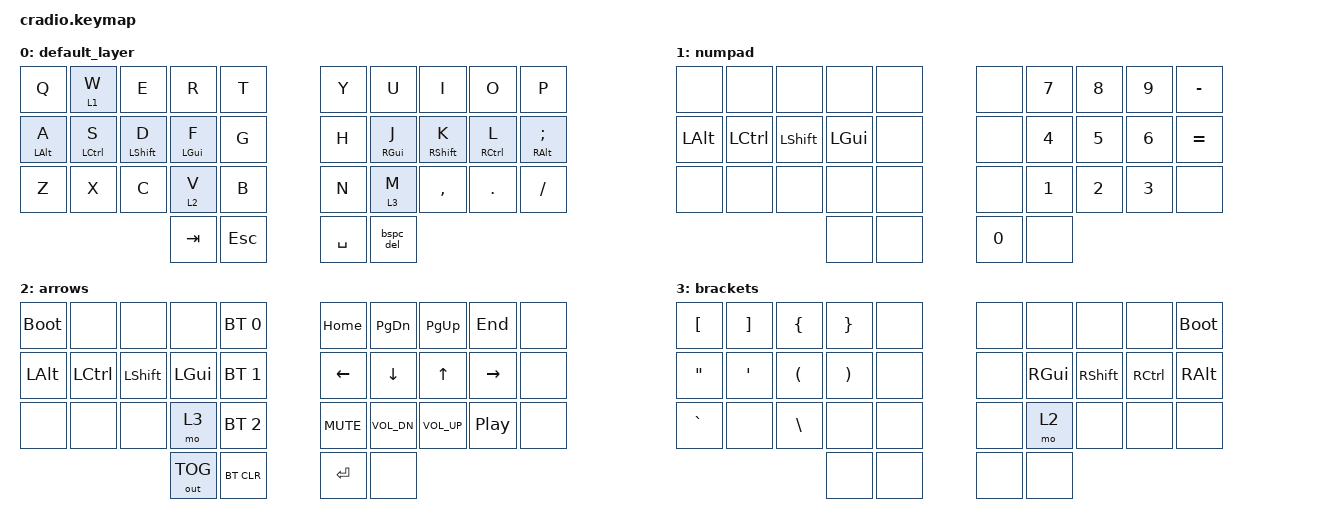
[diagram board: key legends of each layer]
// Copyright (c) 2022 The ZMK Contributors
// SPDX-License-Identifier: MIT

#include <behaviors.dtsi>
#include <dt-bindings/zmk/keys.h>
#include <dt-bindings/zmk/bt.h>
#include <dt-bindings/zmk/outputs.h>

// Home row mod aliases
#define HRM_A    &st LALT  A
#define HRM_S    &st LCTRL S
#define HRM_D    &qt LSHFT D
#define HRM_F    &st LGUI  F
#define HRM_J    &st RGUI  J
#define HRM_K    &qt RSHFT K
#define HRM_L    &st RCTRL L
#define HRM_SEMI &st RALT  SEMI

// Key aliases
#define VOLUP C_VOL_UP
#define VOLDN C_VOL_DN
#define MUTE C_MUTE


/ {
    behaviors {
        qt: quick_mod_tap {
            compatible = "zmk,behavior-hold-tap";
            #binding-cells = <2>;
            flavor = "tap-preferred";
            tapping-term-ms = <200>;
            quick-tap-ms = <150>;
            bindings = <&kp>, <&kp>;
            display-name = "Mod-Tap";
        };

        st: slow_mod_tap {
            compatible = "zmk,behavior-hold-tap";
            #binding-cells = <2>;
            flavor = "tap-preferred";
            tapping-term-ms = <300>;
            quick-tap-ms = <150>;
            bindings = <&kp>, <&kp>;
            display-name = "Mod-Tap";
        };

        bspc_del: backspace_delete {
            compatible = "zmk,behavior-mod-morph";
            #binding-cells = <0>;
            bindings = <&kp BACKSPACE>, <&kp DELETE>;
            mods = <(MOD_LSFT|MOD_RSFT)>;
        };
    };

    keymap {
        compatible = "zmk,keymap";

        default_layer {
            bindings = <
               &kp Q     &lt 1 W   &kp E     &kp R     &kp T     &kp Y     &kp U     &kp I     &kp O     &kp P
               HRM_A     HRM_S     HRM_D     HRM_F     &kp G     &kp H     HRM_J     HRM_K     HRM_L     HRM_SEMI
               &kp Z     &kp X     &kp C     &lt 2 V   &kp B     &kp N     &lt 3 M   &kp COMMA &kp DOT   &kp FSLH
                                             &kp TAB   &kp ESC   &kp SPACE &bspc_del
            >;
        };

        numpad {
            bindings = <
               &none     &none     &none     &none     &none     &none     &kp N7    &kp N8    &kp N9    &kp MINUS
               &kp LALT  &kp LCTRL &kp LSHFT &kp LGUI  &none     &none     &kp N4    &kp N5    &kp N6    &kp EQUAL
               &none     &none     &none     &none     &none     &none     &kp N1    &kp N2    &kp N3    &none
                                             &none     &none     &kp N0    &none
            >;
        };

        arrows {
            bindings = <
             &bootloader &none     &none     &none     &bt BT_SEL 0     &kp HOME  &kp PG_DN &kp PG_UP &kp END   &none
               &kp LALT  &kp LCTRL &kp LSHFT &kp LGUI  &bt BT_SEL 1     &kp LEFT  &kp DOWN  &kp UP    &kp RIGHT &none
               &none     &none     &none     &mo 3     &bt BT_SEL 2     &kp MUTE  &kp VOLDN &kp VOLUP &kp C_PP  &none
                                          &out OUT_TOG &bt BT_CLR       &kp ENTER &none
            >;
        };

        brackets {
            bindings = <
               &kp LBKT  &kp RBKT  &kp LBRC  &kp RBRC  &none     &none     &none     &none     &none     &bootloader
               &kp DQT   &kp  SQT  &kp LPAR  &kp RPAR  &none     &none     &kp RGUI  &kp RSHFT &kp RCTRL &kp RALT
               &kp GRAVE &none     &kp BSLH  &none     &none     &none     &mo 2     &none     &none     &none
                                             &none     &none     &none     &none
            >;
        };
    };
};
